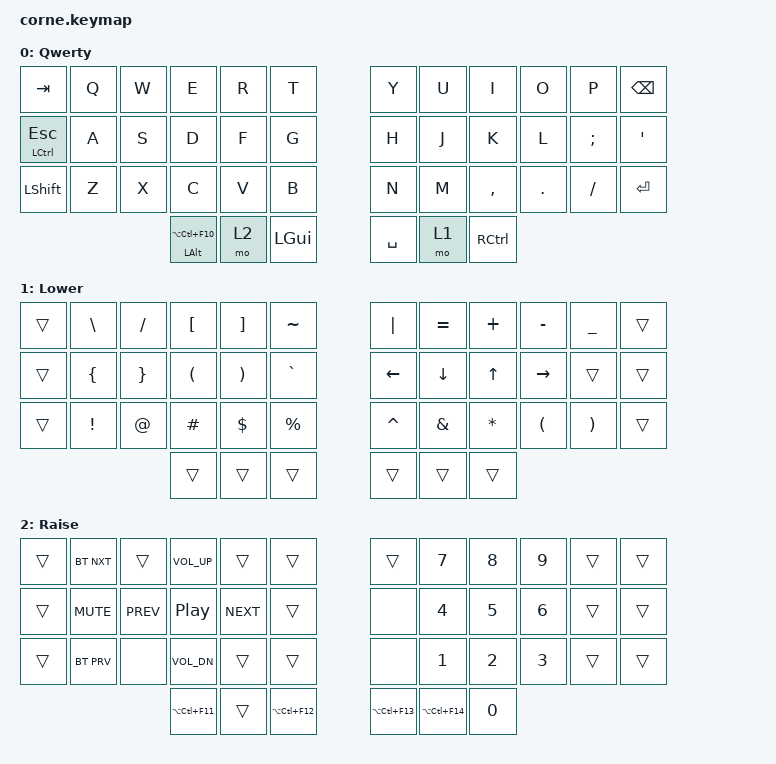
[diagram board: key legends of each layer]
/*
*
* Copyright (c) 2021 Darryl deHaan
* SPDX-License-Identifier: MIT
*
*/
/*
* ## RJH NOTES
* 
* ### Resources
* - Docs: https://zmk.dev/docs/codes
* - Key tester: https://keyboardtester.io/tester/
*
* ### Examples:
* - https://github.com/rastasheep/zmk-config/blob/master/config/corne.keymap
*/

#include <behaviors.dtsi>
#include <dt-bindings/zmk/bt.h>
#include <dt-bindings/zmk/keys.h>

/ {
    chosen { zmk,matrix_transform = &default_transform; };
};

/ {
    keymap {
        compatible = "zmk,keymap";

        default_layer {
            label = "Qwerty";
            bindings = <
&kp TAB        &kp Q  &kp W  &kp E                 &kp R  &kp T       &kp Y      &kp U  &kp I      &kp O    &kp P     &kp BSPC
&mt LCTRL ESC  &kp A  &kp S  &kp D                 &kp F  &kp G       &kp H      &kp J  &kp K      &kp L    &kp SEMI  &kp SQT
&kp LSHFT      &kp Z  &kp X  &kp C                 &kp V  &kp B       &kp N      &kp M  &kp COMMA  &kp DOT  &kp FSLH  &kp ENTER
                             &mt LALT LA(LC(F10))  &mo 2  &kp LGUI    &kp SPACE  &mo 1  &kp RCTRL
            >;
        };

        lower_layer {
            label = "Lower";
            bindings = <
&trans  &kp BSLH  &kp FSLH  &kp LBKT  &kp RBKT  &kp TILDE    &kp PIPE   &kp EQUAL  &kp PLUS   &kp MINUS  &kp UNDER  &trans
&trans  &kp LBRC  &kp RBRC  &kp LPAR  &kp RPAR  &kp GRAVE    &kp LEFT   &kp DOWN   &kp UP     &kp RIGHT  &trans     &trans
&trans  &kp EXCL  &kp AT    &kp HASH  &kp DLLR  &kp PRCNT    &kp CARET  &kp AMPS   &kp ASTRK  &kp LPAR   &kp RPAR   &trans
                            &trans    &trans    &trans       &trans     &trans     &trans
            >;
        };

        raise_layer {
            label = "Raise";
            bindings = <
&trans  &bt BT_NXT  &trans      &kp C_VOL_UP     &trans      &trans             &trans           &kp N7           &kp N8  &kp N9  &trans  &trans
&trans  &kp C_MUTE  &kp C_PREV  &kp C_PP         &kp C_NEXT  &trans             &none            &kp N4           &kp N5  &kp N6  &trans  &trans
&trans  &bt BT_PRV  &none       &kp C_VOL_DN     &trans      &trans             &none            &kp N1           &kp N2  &kp N3  &trans  &trans
                                &kp LA(LC(F11))  &trans      &kp LA(LC(F12))    &kp LA(LC(F13))  &kp LA(LC(F14))  &kp N0
            >;
        };
    };
};
